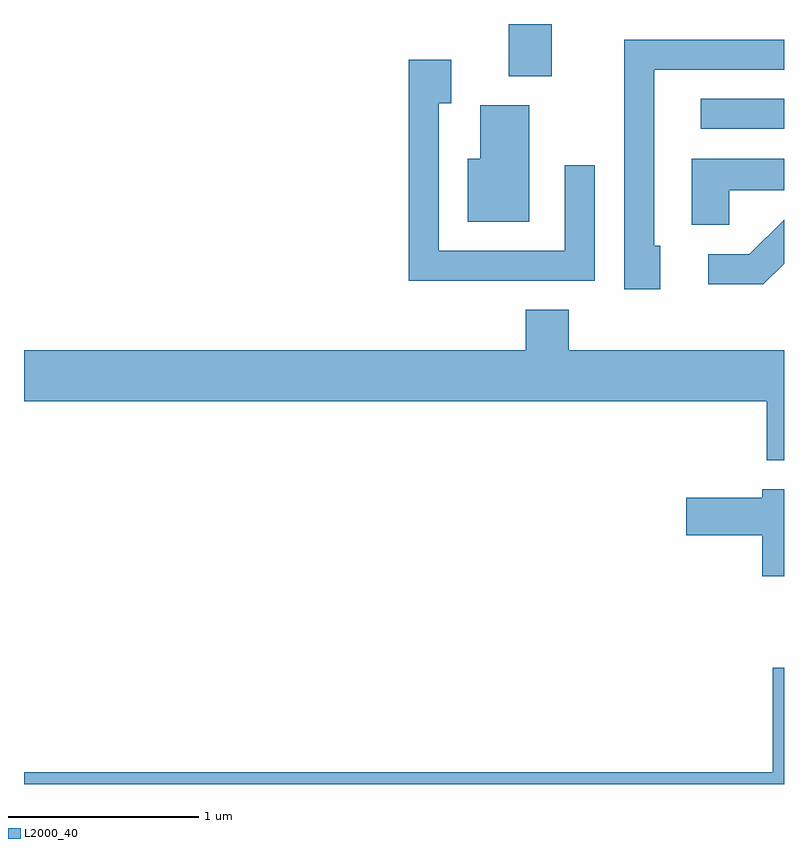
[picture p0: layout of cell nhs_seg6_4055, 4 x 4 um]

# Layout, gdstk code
import gdstk
lib = gdstk.Library(unit=1e-6, precision=1e-09)
def R(c, l, rs):  # rectangles x0, y0, x1, y1
    for r in rs: c.add(gdstk.rectangle(r[:2], r[2:], *l))
def P(c, l, *ps):  # polygons
    for p in ps: c.add(gdstk.Polygon(p, *l))
L2000_40 = (2000, 40)

nhs_seg6_4055 = lib.new_cell('nhs_seg6_4055')
R(nhs_seg6_4055, L2000_40, [(311.173,1633.611,311.611,1633.769), (310.161,1633.886,310.389,1634.162)])
P(nhs_seg6_4055, L2000_40, [(310.959,1632.994),(310.929,1632.994),(310.929,1633.921),(311.611,1633.921),(311.611,1634.079),(310.771,1634.079),(310.771,1632.766),(310.959,1632.766)],
  [(310.614,1633.418),(310.456,1633.418),(310.456,1632.969),(309.794,1632.969),(309.794,1633.746),(309.859,1633.746),(309.859,1633.974),(309.636,1633.974),(309.636,1632.811),(310.614,1632.811)],
  [(310.269,1633.734),(310.011,1633.734),(310.011,1633.454),(309.946,1633.454),(309.946,1633.121),(310.269,1633.121)],
  [(311.324,1633.286),(311.611,1633.286),(311.611,1633.454),(311.126,1633.454),(311.126,1633.106),(311.324,1633.106)],
  [(311.611,1632.9),(311.611,1633.131),(311.429,1632.949),(311.213,1632.949),(311.213,1632.791),(311.502,1632.791)],
  [(311.611,1632.444),(310.479,1632.444),(310.479,1632.659),(310.251,1632.659),(310.251,1632.444),(307.611,1632.444),(307.611,1632.176),(311.521,1632.176),(311.521,1631.866),(311.611,1631.866)],
  [(311.611,1631.714),(311.496,1631.714),(311.496,1631.669),(311.096,1631.669),(311.096,1631.471),(311.496,1631.471),(311.496,1631.256),(311.611,1631.256)],
  [(311.611,1630.773),(311.551,1630.773),(311.551,1630.224),(307.611,1630.224),(307.611,1630.162),(311.611,1630.162)])

lib.write_gds('nhs_seg6_4055.gds')
